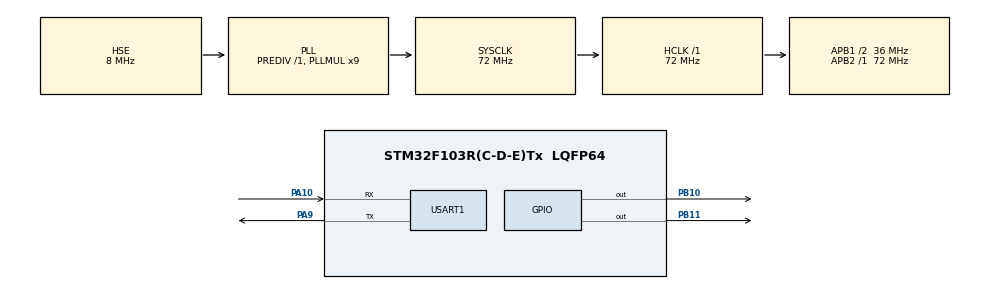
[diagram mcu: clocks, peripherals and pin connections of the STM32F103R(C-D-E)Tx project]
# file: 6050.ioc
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Mcu.Family=STM32F1
Mcu.Name=STM32F103R(C-D-E)Tx
Mcu.Package=LQFP64
NVIC.PriorityGroup=NVIC_PRIORITYGROUP_4
NVIC.TIM3_IRQn=true\:0\:0\:false\:false\:true\:true\:true\:true
PA10.Mode=Asynchronous
PA10.Signal=USART1_RX
PA13.Mode=Serial_Wire
PA13.Signal=SYS_JTMS-SWDIO
PA14.Mode=Serial_Wire
PA14.Signal=SYS_JTCK-SWCLK
PA9.Mode=Asynchronous
PA9.Signal=USART1_TX
PB10.GPIO_ModeDefaultOutputPP=GPIO_MODE_OUTPUT_OD
PB10.GPIO_PuPd=GPIO_NOPULL
PB10.Signal=GPIO_Output
PB11.GPIO_ModeDefaultOutputPP=GPIO_MODE_OUTPUT_OD
PB11.GPIO_PuPd=GPIO_NOPULL
PB11.Signal=GPIO_Output
PD0-OSC_IN.Mode=HSE-External-Oscillator
PD0-OSC_IN.Signal=RCC_OSC_IN
PD1-OSC_OUT.Mode=HSE-External-Oscillator
PD1-OSC_OUT.Signal=RCC_OSC_OUT
ProjectManager.HeapSize=0x200
ProjectManager.StackSize=0x400
ProjectManager.TargetToolchain=MDK-ARM V5.32
RCC.AHBFreq_Value=72000000
RCC.APB1CLKDivider=RCC_HCLK_DIV2
RCC.APB1Freq_Value=36000000
RCC.APB1TimFreq_Value=72000000
RCC.APB2Freq_Value=72000000
RCC.APB2TimFreq_Value=72000000
RCC.HCLKFreq_Value=72000000
RCC.PLLMUL=RCC_PLL_MUL9
RCC.PLLSourceVirtual=RCC_PLLSOURCE_HSE
RCC.SYSCLKFreq_VALUE=72000000
RCC.SYSCLKSource=RCC_SYSCLKSOURCE_PLLCLK
RCC.USBFreq_Value=72000000
TIM3.Period=2000-1
TIM3.Prescaler=72-1
USART1.VirtualMode=VM_ASYNC
VP_TIM3_VS_ClockSourceINT.Mode=Internal
board=custom

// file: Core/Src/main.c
/* USER CODE BEGIN Header */
/**
  ******************************************************************************
  * @file           : main.c
  * @brief          : Main program body
  ******************************************************************************
  * @attention
  *
  * Copyright (c) 2024 STMicroelectronics.
  * All rights reserved.
  *
  * This software is licensed under terms that can be found in the LICENSE file
  * in the root directory of this software component.
  * If no LICENSE file comes with this software, it is provided AS-IS.
  *
  ******************************************************************************
  */
/* USER CODE END Header */
#include "main.h"
#include "tim.h"
#include "usart.h"
#include "gpio.h"

/* USER CODE BEGIN Includes */
#include "stdio.h"
#include "MPU6050.h"
#include "quater.h"
#include "mpu6050_reg.h"
/* USER CODE END Includes */

void SystemClock_Config(void);

/* USER CODE BEGIN 0 */
void HAL_TIM_PeriodElapsedCallback(TIM_HandleTypeDef *htim)
{
	static int time;
	if(htim -> Instance == TIM3)
	{
			time += 2;
			if(time % 8 ==0 )
			{
				time = 0;
				imu_task();
			}
	}
}

//重写fputc
int fputc(int ch, FILE *f)
{
	HAL_UART_Transmit(&huart1,(uint8_t *)&ch,1,50);
	return ch;
}
/* USER CODE END 0 */

uint32_t sample_count = 0;
int16_t tAX, tAY, tAZ, tGX, tGY, tGZ;
int flag = 1;

void change_register(void){
  printf("\r\n%d\r\n", sample_count);
  MPU6050_GetData(&tAX, &tAY, &tAZ, &tGX, &tGY, &tGZ);
  if((abs(tAX - AX) > 10) || (abs(tAY - AY) > 10) || (abs(tAZ - AZ) > 10)){
    HAL_Delay(10);
    sample_count = 0;
    if(flag == 2 || flag == 3){
      MPU6050_WriteReg(MPU6050_PWR_MGMT_1, 0x00);
      MPU6050_WriteReg(MPU6050_PWR_MGMT_2, 0x00);
    }
    flag = 1;
  }else{
    if(sample_count <= 30){
      sample_count++;
    }else{
      MPU6050_WriteReg(MPU6050_PWR_MGMT_1, 0x20);
      MPU6050_WriteReg(MPU6050_PWR_MGMT_2, 0x47);
      flag = 2;
    }
  }
}

int main(void)
{

  /* MCU Configuration--------------------------------------------------------*/

  /* Reset of all peripherals, Initializes the Flash interface and the Systick. */
  HAL_Init();

  /* Configure the system clock */
  SystemClock_Config();

  /* Initialize all configured peripherals */
  MX_GPIO_Init();
  MX_TIM3_Init();
  MX_USART1_UART_Init();
  /* USER CODE BEGIN 2 */
	MPU6050_Init();
	HAL_TIM_Base_Start_IT(&htim3);
  /* USER CODE END 2 */

  /* Infinite loop */
  /* USER CODE BEGIN WHILE */
  int i = 0;
  while (1)
  {
		uint8_t ch;
		//发送数据

    if(flag == 1 || flag == 2){
      change_register();
    }

    if(flag == 1){
      MPU6050_GetData(&AX, &AY, &AZ, &GX, &GY, &GZ);
      printf("AX:%d AY:%d AZ:%d GX:%d GY:%d GZ:%d\r\n",AX, AY, AZ, GX, GY, GZ);
      printf("pitch:%.1f roll:%.1f \r\n",eulerAngle.pitch, eulerAngle.roll);
    }

    if(flag == 4){
      if(++i == 30){
        i = 0;
        MPU6050_WriteReg(MPU6050_PWR_MGMT_1, 0x00);
        MPU6050_WriteReg(MPU6050_PWR_MGMT_2, 0x00);
        HAL_Delay(100);

        MPU6050_GetData(&AX, &AY, &AZ, &GX, &GY, &GZ);
        printf("AX:%d AY:%d AZ:%d GX:%d GY:%d GZ:%d\r\n",AX, AY, AZ, GX, GY, GZ);
        printf("pitch:%.1f roll:%.1f \r\n",eulerAngle.pitch, eulerAngle.roll);

        MPU6050_WriteReg(MPU6050_PWR_MGMT_1, 0x40);
      }
    }

		HAL_Delay(100);
		HAL_UART_Receive(&huart1, &ch, 1, 0);
		if(ch =='o'){
			flag = 1;
		}
		else if(ch == 'c'){
			flag = 3;
      MPU6050_WriteReg(MPU6050_PWR_MGMT_1, 0x40);
		}
    else if(ch == 't'){
      flag = 4;
    }
    /* USER CODE END WHILE */

  }
}

void SystemClock_Config(void)
{
  RCC_OscInitTypeDef RCC_OscInitStruct = {0};
  RCC_ClkInitTypeDef RCC_ClkInitStruct = {0};

  /** Initializes the RCC Oscillators according to the specified parameters
  * in the RCC_OscInitTypeDef structure.
  */
  RCC_OscInitStruct.OscillatorType = RCC_OSCILLATORTYPE_HSE;
  RCC_OscInitStruct.HSEState = RCC_HSE_ON;
  RCC_OscInitStruct.HSEPredivValue = RCC_HSE_PREDIV_DIV1;
  RCC_OscInitStruct.HSIState = RCC_HSI_ON;
  RCC_OscInitStruct.PLL.PLLState = RCC_PLL_ON;
  RCC_OscInitStruct.PLL.PLLSource = RCC_PLLSOURCE_HSE;
  RCC_OscInitStruct.PLL.PLLMUL = RCC_PLL_MUL9;
  if (HAL_RCC_OscConfig(&RCC_OscInitStruct) != HAL_OK)
  {
    Error_Handler();
  }

  /** Initializes the CPU, AHB and APB buses clocks
  */
  RCC_ClkInitStruct.ClockType = RCC_CLOCKTYPE_HCLK|RCC_CLOCKTYPE_SYSCLK
                              |RCC_CLOCKTYPE_PCLK1|RCC_CLOCKTYPE_PCLK2;
  RCC_ClkInitStruct.SYSCLKSource = RCC_SYSCLKSOURCE_PLLCLK;
  RCC_ClkInitStruct.AHBCLKDivider = RCC_SYSCLK_DIV1;
  RCC_ClkInitStruct.APB1CLKDivider = RCC_HCLK_DIV2;
  RCC_ClkInitStruct.APB2CLKDivider = RCC_HCLK_DIV1;

  if (HAL_RCC_ClockConfig(&RCC_ClkInitStruct, FLASH_LATENCY_2) != HAL_OK)
  {
    Error_Handler();
  }
}

void Error_Handler(void)
{
  __disable_irq();
  while (1)
  {
  }
}
